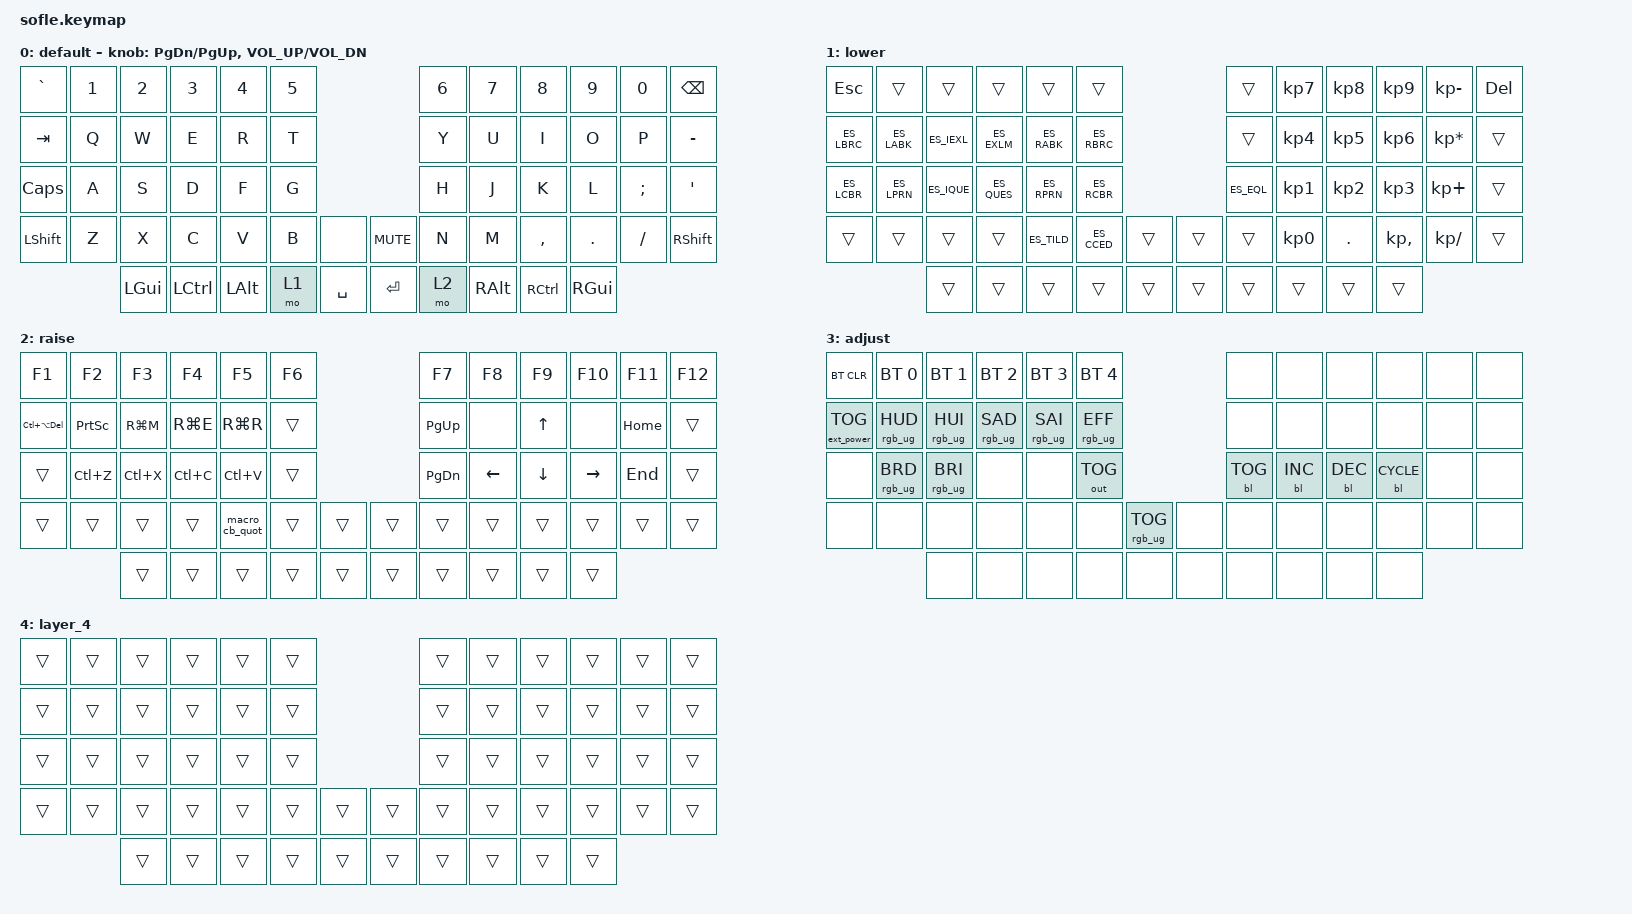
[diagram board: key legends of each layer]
/*
 * Copyright (c) 2020 The ZMK Contributors
 *
 * SPDX-License-Identifier: MIT
 */

#include "keymap_spanish.h"
#include <behaviors.dtsi>
#include <dt-bindings/zmk/keys.h>
#include <dt-bindings/zmk/bt.h>
#include <dt-bindings/zmk/ext_power.h>
#include <dt-bindings/zmk/rgb.h>
#include <dt-bindings/zmk/backlight.h>
#include <dt-bindings/zmk/outputs.h>

/*
 * Temporarily here because nice nano v2 spi is not defined on ZMK Yet
 * Source: https://github.com/zmkfirmware/zmk/blob/main/app/boards/shields/reviung41/boards/nice_nano.overlay
 * GitHub Issue: https://github.com/zmkfirmware/zmk/issues/885
 */

#include <dt-bindings/led/led.h>

&pinctrl {
    spi3_default: spi3_default {
        group1 {
            psels = <NRF_PSEL(SPIM_MOSI, 0, 8)>;
        };
    };

    spi3_sleep: spi3_sleep {
        group1 {
            psels = <NRF_PSEL(SPIM_MOSI, 0, 8)>;
            low-power-enable;
        };
    };
};

&spi3 {
    compatible = "nordic,nrf-spim";
    status = "okay";

    pinctrl-0 = <&spi3_default>;
    pinctrl-1 = <&spi3_sleep>;
    pinctrl-names = "default", "sleep";

    led_strip: ws2812@0 {
        compatible = "worldsemi,ws2812-spi";
        label = "WS2812";

        /* SPI */
        reg = <0>; /* ignored, but necessary for SPI bindings */
        spi-max-frequency = <4000000>;

        /* WS2812 */
        chain-length = <30>;
        spi-one-frame = <0x70>;
        spi-zero-frame = <0x40>;

        color-mapping = <LED_COLOR_ID_GREEN LED_COLOR_ID_RED LED_COLOR_ID_BLUE>;
    };
};

/ {
    chosen {
        zmk,underglow = &led_strip;
    };
};

/* END temporary RGB support section */

#define BASE 0
#define LOWER 1
#define RAISE 2
#define ADJUST 3

/ {
    // Activate ADJUST layer by pressing raise and lower

    conditional_layers {
        compatible = "zmk,conditional-layers";

        adjust_layer {
            if-layers = <1 2>;
            then-layer = <3>;
        };
    };

    combos {
        compatible = "zmk,combos";

        Ejecutar {
            bindings = <&kp RG(R)>;
            key-positions = <28 31 27 32>;
        };

        Explorer {
            bindings = <&kp RG(E)>;
            key-positions = <14 15 16>;
        };

        Imprimir-Pantalla {
            bindings = <&kp RG(LS(S))>;
            key-positions = <25 34 39 27>;
        };
    };

    macros {
        macro_cb_quot: macro_0 {
            compatible = "zmk,behavior-macro";
            #binding-cells = <0>;
            wait-ms = <100>;  // Aumentamos el tiempo de espera al principio
            tap-ms = <100>;    // Tiempo para la pulsación de cada tecla
            bindings = 
              <&kp DQT>                       /* Escribe la primera comilla doble (") */
            , <&macro_press &kp LCTRL>        /* Presiona Ctrl */
            , <&macro_tap &kp V>              /* Presiona V para pegar */
            , <&macro_release &kp LCTRL>      /* Suelta Ctrl */
            , <&kp DQT>                       /* Escribe la segunda comilla doble (") */
            ;
        };
    };

    keymap {
        compatible = "zmk,keymap";

        default_layer {
            display-name = "default";

            // ------------------------------------------------------------------------------------------------------------
            // |   `   |  1  |  2  |  3   |  4   |  5   |                   |  6   |  7    |  8    |  9   |   0   |BCKSPC |
            // |  TAB  |  Q  |  W  |  E   |  R   |  T   |                   |  Y   |  U    |  I    |  O   |   P   |   -   |
            // | CAPS  |  A  |  S  |  D   |  F   |  G   |                   |  H   |  J    |  K    |  L   |   ;   |   '   |
            // | SHIFT |  Z  |  X  |  C   |  V   |  B   |        |  | MUTE  |  N   |  M    |  ,    |  .   |   /   | SHIFT |
            //               | GUI | ALT  | CTRL | LOWER|  SPACE |  | ENTER | RAISE| CTRL  | ALT   | GUI  |

            bindings = <
&kp GRAVE     &kp N1        &kp N2    &kp N3     &kp N4        &kp N5                                     &kp N6     &kp N7    &kp N8     &kp N9    &kp N0    &kp BACKSPACE
&kp TAB       &kp Q         &kp W     &kp E      &kp R         &kp T                                      &kp Y      &kp U     &kp I      &kp O     &kp P     &kp MINUS
&kp CAPSLOCK  &kp A         &kp S     &kp D      &kp F         &kp G                                      &kp H      &kp J     &kp K      &kp L     &kp SEMI  &kp SQT
&kp LSHFT     &kp Z         &kp X     &kp C      &kp V         &kp B      &none         &kp C_MUTE        &kp N      &kp M     &kp COMMA  &kp DOT   &kp FSLH  &kp RSHFT
                            &kp LGUI  &kp LCTRL  &kp LEFT_ALT  &mo 1      &kp SPACE     &kp ENTER         &mo 2      &kp RALT  &kp RCTRL  &kp RGUI
            >;

            sensor-bindings =
                <&inc_dec_kp PG_DN PG_UP>,
                <&inc_dec_kp C_VOLUME_UP C_VOL_DN>;
        };

        lower_layer {
            display-name = "lower";

            // TODO: Some binds are waiting for shifted keycode support.
            // ------------------------------------------------------------------------------------------------------------
            // | ESC   |     |     |      |      |      |                   |      |  7    |  8    |  9   |   -   |  DEL  |
            // |   [   |  <  |  ¡  |  !   |  >   |  ]   |                   |      |  4    |  5    |  6   |   *   |       |
            // |   {   |  (  |  ¿  |  ?   |  )   |  }   |                   |  =   |  1    |  2    |  3   |   +   |       |
            // |       |     |     |      |  ~   |  Ç   |        |  |       |      |  0    |  .    |  ,   |   \   |       |
            //               |     |      |      |      |        |  |       |      |       |       |      |

            bindings = <
&kp ESCAPE        &trans                 &trans         &trans            &trans                 &trans                               &trans       &kp KP_NUMBER_7  &kp KP_NUMBER_8  &kp KP_NUMBER_9  &kp KP_MINUS    &kp DEL
&kp ES_LBRC       &kp ES_LABK            &kp ES_IEXL    &kp ES_EXLM       &kp ES_RABK            &kp ES_RBRC                          &trans       &kp KP_NUMBER_4  &kp KP_NUMBER_5  &kp KP_NUMBER_6  &kp KP_ASTERISK &trans
&kp ES_LCBR       &kp ES_LPRN            &kp ES_IQUE    &kp ES_QUES       &kp ES_RPRN            &kp ES_RCBR                          &kp ES_EQL   &kp KP_NUMBER_1  &kp KP_NUMBER_2  &kp KP_NUMBER_3  &kp KP_PLUS     &trans
&trans            &trans                 &trans         &trans            &kp ES_TILD            &kp ES_CCED        &trans    &trans  &trans       &kp KP_NUMBER_0  &kp DOT          &kp KP_COMMA     &kp KP_SLASH    &trans
                                         &trans         &trans            &trans                 &trans             &trans    &trans  &trans       &trans           &trans           &trans
            >;
        };

        raise_layer {
            display-name = "raise";

            // ------------------------------------------------------------------------------------------------------------
            // |   F1  |  F2   |   F3    |  F4   |  F5           |  F6   |                |  F7  |  F8  |  F9   | F10  |  F11  |  F12  |
            // | CASUP | PRTSC |  WIN+M  | WIN+E | WIN+R         |       |                | PGUP |      |   ^   |      |  HOME |       |
            // |       | UNDO  |   CUT   | COPY  | PASTE         |       |                | PGDN |   <- |   v   |  ->  |  END  |       |
            // |       |       |         |       | macro_cb_quot |       |      |  |      |      |      |       |      |       |       |
            //                 |         |       |               |       |      |  |      |      |      |       |      |

            bindings = <
&kp F1            &kp F2     &kp F3      &kp F4      &kp F5         &kp F6                    &kp F7     &kp F8         &kp F9    &kp F10    &kp F11   &kp F12
&kp LC(LA(DEL))   &kp PSCRN  &kp RG(M)   &kp RG(E)   &kp RG(R)      &trans                    &kp PG_UP  &none          &kp UP    &none      &kp HOME  &trans
&trans            &kp LC(Z)  &kp LC(X)   &kp LC(C)   &kp LC(V)      &trans                    &kp PG_DN  &kp LEFT       &kp DOWN  &kp RIGHT  &kp END   &trans
&trans            &trans     &trans      &trans      &macro_cb_quot &trans  &trans    &trans  &trans     &trans         &trans    &trans     &trans    &trans
                             &trans      &trans      &trans         &trans  &trans    &trans  &trans     &trans         &trans    &trans
            >;
        };

        adjust_layer {
            // ----------------------------------------------------------------------------------------------------------------------------
            // | BTCLR  |  BT1    |  BT2    |   BT3   |   BT4   |   BT5   |                  |      |      |       |      |       |       |
            // | EXTPWR | RGB_HUD | RGB_HUI | RGB_SAD | RGB_SAI | RGB_EFF |                  |      |      |       |      |       |       |
            // |        | RGB_BRD | RGB_BRI |         |         |         |                  |      |      |       |      |       |       |
            // |        |         |         |         |         | OUT_TOG | RGB_TOG | |      |      |      |       |      |       |       |
            //                    |         |         |         |         |         | |      |      |      |       |      |

            display-name = "adjust";
            bindings = <
&bt BT_CLR         &bt BT_SEL 0     &bt BT_SEL 1     &bt BT_SEL 2     &bt BT_SEL 3     &bt BT_SEL 4                               &none       &none       &none       &none         &none  &none
&ext_power EP_TOG  &rgb_ug RGB_HUD  &rgb_ug RGB_HUI  &rgb_ug RGB_SAD  &rgb_ug RGB_SAI  &rgb_ug RGB_EFF                            &none       &none       &none       &none         &none  &none
&none              &rgb_ug RGB_BRD  &rgb_ug RGB_BRI  &none            &none            &out OUT_TOG                               &bl BL_TOG  &bl BL_INC  &bl BL_DEC  &bl BL_CYCLE  &none  &none
&none              &none            &none            &none            &none            &none            &rgb_ug RGB_TOG    &none  &none       &none       &none       &none         &none  &none
                                    &none            &none            &none            &none            &none              &none  &none       &none       &none       &none
            >;
        };

        layer_4 {
            bindings = <
&trans  &trans  &trans  &trans  &trans  &trans                    &trans  &trans  &trans  &trans  &trans  &trans
&trans  &trans  &trans  &trans  &trans  &trans                    &trans  &trans  &trans  &trans  &trans  &trans
&trans  &trans  &trans  &trans  &trans  &trans                    &trans  &trans  &trans  &trans  &trans  &trans
&trans  &trans  &trans  &trans  &trans  &trans  &trans    &trans  &trans  &trans  &trans  &trans  &trans  &trans
                &trans  &trans  &trans  &trans  &trans    &trans  &trans  &trans  &trans  &trans
            >;
        };
    };
};
